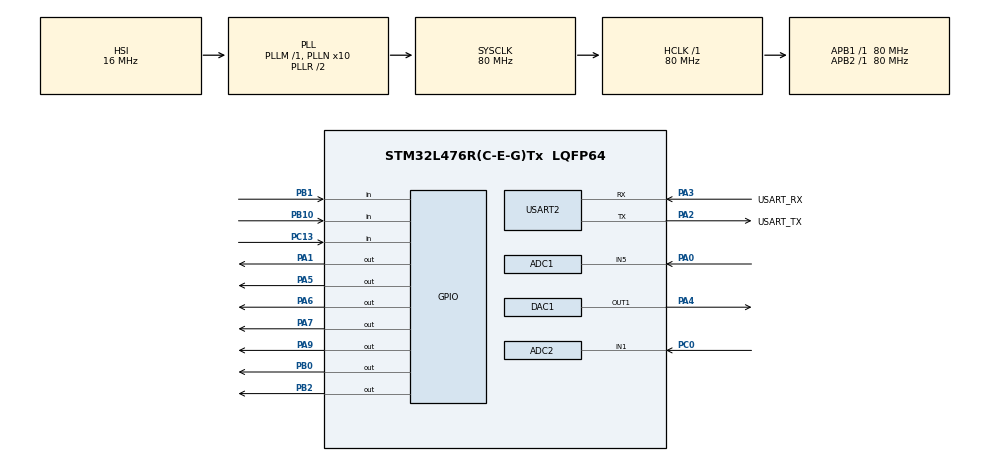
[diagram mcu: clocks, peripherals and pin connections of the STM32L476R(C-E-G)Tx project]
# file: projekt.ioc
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ADC1.Channel-1\#ChannelRegularConversion=ADC_CHANNEL_5
ADC1.NbrOfConversionFlag=1
ADC1.OffsetNumber-1\#ChannelRegularConversion=ADC_OFFSET_NONE
ADC1.Rank-1\#ChannelRegularConversion=1
ADC1.SamplingTime-1\#ChannelRegularConversion=ADC_SAMPLETIME_2CYCLES_5
ADC1.master=1
ADC2.Channel-0\#ChannelRegularConversion=ADC_CHANNEL_1
ADC2.DMAContinuousRequests=ENABLE
ADC2.ExternalTrigConv=ADC_EXTERNALTRIG_T4_TRGO
ADC2.NbrOfConversionFlag=1
ADC2.OffsetNumber-0\#ChannelRegularConversion=ADC_OFFSET_NONE
ADC2.Rank-0\#ChannelRegularConversion=1
ADC2.SamplingTime-0\#ChannelRegularConversion=ADC_SAMPLETIME_2CYCLES_5
DAC1.DAC_Trigger-DAC_OUT1_ExtAndInt=DAC_TRIGGER_T4_TRGO
Dma.ADC2.1.Direction=DMA_PERIPH_TO_MEMORY
Dma.ADC2.1.Instance=DMA1_Channel2
Dma.ADC2.1.MemDataAlignment=DMA_MDATAALIGN_HALFWORD
Dma.ADC2.1.MemInc=DMA_MINC_ENABLE
Dma.ADC2.1.Mode=DMA_CIRCULAR
Dma.ADC2.1.PeriphDataAlignment=DMA_PDATAALIGN_HALFWORD
Dma.ADC2.1.PeriphInc=DMA_PINC_DISABLE
Dma.ADC2.1.Priority=DMA_PRIORITY_LOW
Dma.DAC_CH1.0.Direction=DMA_MEMORY_TO_PERIPH
Dma.DAC_CH1.0.Instance=DMA1_Channel3
Dma.DAC_CH1.0.MemDataAlignment=DMA_MDATAALIGN_HALFWORD
Dma.DAC_CH1.0.MemInc=DMA_MINC_ENABLE
Dma.DAC_CH1.0.Mode=DMA_CIRCULAR
Dma.DAC_CH1.0.PeriphDataAlignment=DMA_PDATAALIGN_HALFWORD
Dma.DAC_CH1.0.PeriphInc=DMA_PINC_DISABLE
Dma.DAC_CH1.0.Priority=DMA_PRIORITY_LOW
Dma.Request0=DAC_CH1
Dma.Request1=ADC2
Mcu.Family=STM32L4
Mcu.Name=STM32L476R(C-E-G)Tx
Mcu.Package=LQFP64
NVIC.DMA1_Channel2_IRQn=true\:0\:0\:false\:false\:true\:false\:true\:true
NVIC.DMA1_Channel3_IRQn=true\:0\:0\:false\:false\:true\:false\:true\:true
NVIC.PriorityGroup=NVIC_PRIORITYGROUP_4
NVIC.TIM3_IRQn=true\:0\:0\:false\:false\:true\:true\:true\:true
NVIC.TIM4_IRQn=true\:0\:0\:false\:false\:true\:true\:true\:true
PA0.Signal=ADCx_IN5
PA1.Signal=GPIO_Output
PA13\ (JTMS-SWDIO).GPIO_Label=TMS
PA13\ (JTMS-SWDIO).Mode=Serial_Wire
PA13\ (JTMS-SWDIO).Signal=SYS_JTMS-SWDIO
PA14\ (JTCK-SWCLK).GPIO_Label=TCK
PA14\ (JTCK-SWCLK).Mode=Serial_Wire
PA14\ (JTCK-SWCLK).Signal=SYS_JTCK-SWCLK
PA2.GPIO_Label=USART_TX
PA2.GPIO_Mode=GPIO_MODE_AF_PP
PA2.GPIO_PuPd=GPIO_NOPULL
PA2.GPIO_Speed=GPIO_SPEED_FREQ_VERY_HIGH
PA2.Mode=Asynchronous
PA2.Signal=USART2_TX
PA3.GPIO_Label=USART_RX
PA3.GPIO_Mode=GPIO_MODE_AF_PP
PA3.GPIO_PuPd=GPIO_NOPULL
PA3.GPIO_Speed=GPIO_SPEED_FREQ_VERY_HIGH
PA3.Mode=Asynchronous
PA3.Signal=USART2_RX
PA4.Signal=COMP_DAC11_group
PA5.Signal=GPIO_Output
PA6.Signal=GPIO_Output
PA7.Signal=GPIO_Output
PA8.Signal=S_TIM1_CH1
PA9.Signal=GPIO_Output
PB0.GPIO_PuPd=GPIO_NOPULL
PB0.Signal=GPIO_Output
PB1.Signal=GPIO_Input
PB10.Signal=GPIO_Input
PB2.Signal=GPIO_Output
PB3\ (JTDO-TRACESWO).GPIO_Label=SWO
PB3\ (JTDO-TRACESWO).Signal=SYS_JTDO-SWO
PC0.Signal=ADCx_IN1
PC13.GPIO_PuPd=GPIO_NOPULL
PC13.Signal=GPIO_Input
PC14-OSC32_IN\ (PC14).Mode=LSE-External-Oscillator
PC14-OSC32_IN\ (PC14).Signal=RCC_OSC32_IN
PC15-OSC32_OUT\ (PC15).Mode=LSE-External-Oscillator
PC15-OSC32_OUT\ (PC15).Signal=RCC_OSC32_OUT
PH0-OSC_IN\ (PH0).Signal=RCC_OSC_IN
PH1-OSC_OUT\ (PH1).Signal=RCC_OSC_OUT
ProjectManager.HeapSize=0x200
ProjectManager.StackSize=0x400
ProjectManager.TargetToolchain=STM32CubeIDE
RCC.ADCFreq_Value=64000000
RCC.AHBFreq_Value=80000000
RCC.APB1Freq_Value=80000000
RCC.APB1TimFreq_Value=80000000
RCC.APB2Freq_Value=80000000
RCC.APB2TimFreq_Value=80000000
RCC.CortexFreq_Value=80000000
RCC.HCLKFreq_Value=80000000
RCC.HSE_VALUE=8000000
RCC.HSI_VALUE=16000000
RCC.MSI_VALUE=4000000
RCC.PLLN=10
RCC.PLLSourceVirtual=RCC_PLLSOURCE_HSI
RCC.PREFETCH_ENABLE=1
RCC.SYSCLKFreq_VALUE=80000000
RCC.SYSCLKSource=RCC_SYSCLKSOURCE_PLLCLK
RCC.USBFreq_Value=64000000
RCC.VCOOutputFreq_Value=160000000
SH.ADCx_IN1.0=ADC2_IN1,IN1-Single-Ended
SH.ADCx_IN5.0=ADC1_IN5,IN5-Single-Ended
SH.COMP_DAC11_group.0=DAC1_OUT1,DAC_OUT1_ExtAndInt
SH.S_TIM1_CH1.0=TIM1_CH1
TIM3.AutoReloadPreload=TIM_AUTORELOAD_PRELOAD_DISABLE
TIM3.Period=2499
TIM3.Prescaler=7999
TIM3.TIM_MasterOutputTrigger=TIM_TRGO_UPDATE
TIM4.Period=99
TIM4.Prescaler=499
TIM4.TIM_MasterOutputTrigger=TIM_TRGO_UPDATE
TIM5.Prescaler=79
USART2.VirtualMode-Asynchronous=VM_ASYNC
VP_TIM3_VS_ClockSourceINT.Mode=Internal
VP_TIM4_VS_ClockSourceINT.Mode=Internal
VP_TIM5_VS_ClockSourceINT.Mode=Internal
board=NUCLEO-L476RG

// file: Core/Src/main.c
/* USER CODE BEGIN Header */
/**
  ******************************************************************************
  * @file           : main.c
  * @brief          : Main program body
  ******************************************************************************
  * @attention
  *
  * Copyright (c) 2025 STMicroelectronics.
  * All rights reserved.
  *
  * This software is licensed under terms that can be found in the LICENSE file
  * in the root directory of this software component.
  * If no LICENSE file comes with this software, it is provided AS-IS.
  *
  ******************************************************************************
  */
/* USER CODE END Header */
#include "main.h"

/* USER CODE BEGIN Includes */
#include "core_cm4.h"
#include <math.h>
/* USER CODE END Includes */

ADC_HandleTypeDef hadc1;
ADC_HandleTypeDef hadc2;
DMA_HandleTypeDef hdma_adc2;

DAC_HandleTypeDef hdac1;
DMA_HandleTypeDef hdma_dac_ch1;

TIM_HandleTypeDef htim3;
TIM_HandleTypeDef htim4;
TIM_HandleTypeDef htim5;

UART_HandleTypeDef huart2;

/* USER CODE BEGIN PV */

float distance1_cm = 0;
float distance2_cm = 0;

float temp_distance = 0;
uint8_t max_distance = 30;
uint32_t t1=0;
uint32_t t2=0;
uint16_t freq_uint = 0;

// czujniki odległości
#define TRIG1_PORT GPIOB
#define TRIG1_PIN  GPIO_PIN_0
#define ECHO1_PORT GPIOB
#define ECHO1_PIN  GPIO_PIN_1

#define TRIG2_PORT GPIOB
#define TRIG2_PIN  GPIO_PIN_2
#define ECHO2_PORT GPIOB
#define ECHO2_PIN  GPIO_PIN_10

//sinus
#define SINE_SAMPLES 100
#define ADC_BUF_SIZE 100
uint16_t sine_table[SINE_SAMPLES];
uint16_t adc_buffer[ADC_BUF_SIZE];
static uint32_t last_update = 0;
float freq = 0;
uint16_t amp = 0;
volatile uint8_t adc_frame_ready = 0;

//sygnał prostokątny
uint8_t square_state = 0; //bool
float square_min = 0.4f;
float square_max = 1.0f;
float square_gain = 0.0f;
float freq_sqr= 0.0f;

//przełącznik
uint8_t button = 0;

//potencjometr
uint16_t adc_value = 0;
uint8_t led_level = 0;

//PID
#define PID_BUF_SIZE 1000
//#define PID_MAX_STEP 0.5f

float pid1_output = 0;
float pid1_error = 0;
float pid1_error_p = 0;
float pid2_output = 0;
float pid2_error = 0;
float pid2_error_p = 0;

float Ts = 0.001f;
float Kp = 17.2f;
float Ki = 84.4f;
float integral1 = 0;

typedef struct {
	float integral;

	float Kp;
	float Ki;

	float out_max;
	float out_min;

	float error;
	float percent_error;
	float out;
	float delta;
	float last_out;
	float max_step;

} PID_t;

PID_t pid1 = {0, 30, 84.4, 0, 0, 0, 0, 0 ,0, 0, 0.05};
PID_t pid2 = {0, 30, 84.4, 0, 0, 0, 0, 0 ,0, 0, 0.05};

/* USER CODE END PV */

void SystemClock_Config(void);
void PeriphCommonClock_Config(void);
static void MX_GPIO_Init(void);
static void MX_DMA_Init(void);
static void MX_USART2_UART_Init(void);
static void MX_ADC1_Init(void);
static void MX_DAC1_Init(void);
static void MX_TIM4_Init(void);
static void MX_ADC2_Init(void);
static void MX_TIM5_Init(void);
static void MX_TIM3_Init(void);

/* USER CODE BEGIN 0 */

// Inicjalizacja DWT do mikroseknund
static void DWT_Init(void)
{
    CoreDebug->DEMCR |= CoreDebug_DEMCR_TRCENA_Msk;
    DWT->CYCCNT = 0;
    DWT->CTRL |= DWT_CTRL_CYCCNTENA_Msk;
}

// Funkcja opóźnienia w µs
static inline uint32_t micros(void)
{
    return DWT->CYCCNT / (SystemCoreClock / 1000000);
}

// Wyślij impuls 10 us (dla debug bezpiecznie 1 ms)
void HCSR04_Trigger(GPIO_TypeDef* port, uint16_t pin)
{
    HAL_GPIO_WritePin(port, pin, GPIO_PIN_SET);
    HAL_Delay(1);
    HAL_GPIO_WritePin(port, pin, GPIO_PIN_RESET);
}

uint32_t HCSR04_Read_US(GPIO_TypeDef* port, uint16_t pin)
{
    uint32_t start = 0, stop = 0;

    while(HAL_GPIO_ReadPin(port, pin) == GPIO_PIN_RESET); // czekaj na wzniesienie
    start = micros();
    while(HAL_GPIO_ReadPin(port, pin) == GPIO_PIN_SET);   // czekaj na opadnięcie
    stop = micros();

    return stop - start; // czas w mikrosekundach
}

float TimeToDistance(uint32_t time_us)
{
    return time_us * 0.0343f / 2.0f; // w cm
}

// Inicjalizacja GPIO dla obu czujników
void GPIO_Init_HCSR04(void)
{
    __HAL_RCC_GPIOB_CLK_ENABLE();
    GPIO_InitTypeDef GPIO_InitStruct = {0};

    // TRIG1 jako output
    GPIO_InitStruct.Pin = TRIG1_PIN;
    GPIO_InitStruct.Mode = GPIO_MODE_OUTPUT_PP;
    GPIO_InitStruct.Pull = GPIO_NOPULL;
    GPIO_InitStruct.Speed = GPIO_SPEED_FREQ_LOW;
    HAL_GPIO_Init(TRIG1_PORT, &GPIO_InitStruct);

    // ECHO1 jako input
    GPIO_InitStruct.Pin = ECHO1_PIN;
    GPIO_InitStruct.Mode = GPIO_MODE_INPUT;
    GPIO_InitStruct.Pull = GPIO_NOPULL;
    HAL_GPIO_Init(ECHO1_PORT, &GPIO_InitStruct);

    // TRIG2 jako output
    GPIO_InitStruct.Pin = TRIG2_PIN;
    GPIO_InitStruct.Mode = GPIO_MODE_OUTPUT_PP;
    HAL_GPIO_Init(TRIG2_PORT, &GPIO_InitStruct);

    // ECHO2 jako input
    GPIO_InitStruct.Pin = ECHO2_PIN;
    GPIO_InitStruct.Mode = GPIO_MODE_INPUT;
    HAL_GPIO_Init(ECHO2_PORT, &GPIO_InitStruct);
}

//potencjometr
uint16_t Read_ADC(ADC_HandleTypeDef *adc)
{
    HAL_ADC_Start(adc);
    HAL_ADC_PollForConversion(adc, HAL_MAX_DELAY);
    uint16_t val = HAL_ADC_GetValue(adc);
    HAL_ADC_Stop(adc);
    return val;
}

//UART
void UART_SendBuffer_BeginEnd(uint16_t *buf, uint16_t size, float f)
{
    uint8_t header[2] = {0xAA, 0x55};
    freq_uint = (uint16_t) (f*1000);
    HAL_UART_Transmit(&huart2, header, 2, HAL_MAX_DELAY);
    HAL_UART_Transmit(&huart2, (uint8_t*)&freq_uint, 2, HAL_MAX_DELAY);
    HAL_UART_Transmit(&huart2, (uint8_t*)&size, 2, HAL_MAX_DELAY);

    for (uint16_t i = 0; i < size; i++)
    {
        uint8_t data[2] = {buf[i] & 0xFF, buf[i] >> 8};
        HAL_UART_Transmit(&huart2, data, 2, HAL_MAX_DELAY);
    }

//    uint32_t t_end = __HAL_TIM_GET_COUNTER(&htim5);    // koniec bufora
//    HAL_UART_Transmit(&huart2, (uint8_t*)&t_end, 4, HAL_MAX_DELAY);
}

void HAL_ADC_ConvCpltCallback(ADC_HandleTypeDef* hadc)
{
    if (hadc->Instance == ADC2)
    {
        adc_frame_ready = 1;
    }
}

//sinus
void GenerateSineTable(void)
{
    for (int i = 0; i < SINE_SAMPLES; i++)
    {
        float angle = 2.0f * M_PI * i / SINE_SAMPLES;
        float s = sinf(angle);

        sine_table[i] = (uint16_t)(2048 + 2047 * s);
    }
}

void SetSineFrequency(float freq_hz)
{
    if (freq_hz < 0.1f) freq_hz = 0.1f;
    if (freq_hz > 100.0f) freq_hz = 100.0f;

    float f_trgo = freq_hz * SINE_SAMPLES;

    uint32_t timer_clk = 80000000UL;
    uint32_t psc = htim4.Init.Prescaler;

    uint32_t arr = (uint32_t)((timer_clk / ((psc + 1) * f_trgo)) - 1);

    __HAL_TIM_SET_AUTORELOAD(&htim4, arr);
    __HAL_TIM_SET_COUNTER(&htim4, 0);
}

float DistanceToFrequency(float d_cm)
{
	return 1.0f + (d_cm - 5.0f) * (19.0f / 95.0f) *2.0f;
}

//sygnał prostokątny
static inline float GetSquareGain(void)
{
    return square_state ? square_max : square_min;
}

void SetSqrFrequency(float freq_hz)
{
    if (freq_hz < 0.1f) freq_hz = 0.1f;
    if (freq_hz > 100.0f) freq_hz = 100.0f;

    float f_trgo = freq_hz * SINE_SAMPLES;

    uint32_t timer_clk = 80000000UL;
    uint32_t psc = htim3.Init.Prescaler*5;

    uint32_t arr = (uint32_t)((timer_clk / ((psc + 1) * f_trgo)) - 1)*10;

    __HAL_TIM_SET_AUTORELOAD(&htim3, arr);
    __HAL_TIM_SET_COUNTER(&htim3, 0);
}

//synteza, aktualizacja amplitudy
void UpdateSineAmplitude(uint16_t amplitude)
{
	 square_gain = GetSquareGain();

	    for (int i = 0; i < SINE_SAMPLES; i++)
	    {
	        float angle = 2.0f * M_PI * i / SINE_SAMPLES;
	        float s = sinf(angle);

	        if(button==0)
	        {
	        	sine_table[i] = 2048 + (int16_t)(amplitude * square_gain * s);
	        }else
	        {
	        	sine_table[i] = 2048 + (int16_t)(amplitude * s);
	        }
	    }
}

uint16_t ADC_ToAmplitude(uint16_t adc)
{
    if (adc > 4095) adc = 4095;
    return (adc * 2047) / 4095;
}

//pid
void PID_Update(PID_t *p, float distance)
{
	// calculate error and error margin
	p->error = distance - p->out;
	p->percent_error = (p->error / distance * 100);

	// calculate integral and output
	p->integral += p->error;

	if (p->integral > p->out_max) p->integral = p->out_max;
	if (p->integral < p->out_min) p->integral = p->out_min;

	p->out = p->Kp * p->error + p->Ki * p->integral;

	// check for change restrictions
	p->delta = p->out - p->last_out;

	if (p->delta > p->max_step) p->delta = p->max_step;
	if (p->delta < -p->max_step) p->delta = -p->max_step;

	p->out = p->last_out + p->delta;
	p->last_out = p->out;
}

/* USER CODE END 0 */

int main(void)
{

  /* MCU Configuration--------------------------------------------------------*/

  /* Reset of all peripherals, Initializes the Flash interface and the Systick. */
  HAL_Init();

  /* Configure the system clock */
  SystemClock_Config();

  /* Configure the peripherals common clocks */
  PeriphCommonClock_Config();

  /* Initialize all configured peripherals */
  MX_GPIO_Init();
  MX_DMA_Init();
  MX_USART2_UART_Init();
  MX_ADC1_Init();
  MX_DAC1_Init();
  MX_TIM4_Init();
  MX_ADC2_Init();
  MX_TIM5_Init();
  MX_TIM3_Init();
  /* USER CODE BEGIN 2 */

   HAL_TIM_Base_Start(&htim5);
   HAL_TIM_Base_Start_IT(&htim3);
   HAL_TIM_Base_Start_IT(&htim4);
   GPIO_Init_HCSR04();
   DWT_Init();
   GenerateSineTable();

   // START DAC + DMA
   HAL_DAC_Start_DMA(
       &hdac1,
       DAC_CHANNEL_1,
       (uint32_t*)sine_table,
       SINE_SAMPLES,
       DAC_ALIGN_12B_R
   );

   // START ADC + DMA
   HAL_ADC_Start_DMA(
       &hadc2,
       (uint32_t*)adc_buffer,
       ADC_BUF_SIZE
   );

  /* USER CODE END 2 */

  /* Infinite loop */
  while (1)
  {

    /* USER CODE BEGIN 3 */
	 // Czujnik 1
	 HCSR04_Trigger(TRIG1_PORT, TRIG1_PIN);
	 t1 = HCSR04_Read_US(ECHO1_PORT, ECHO1_PIN);
	 temp_distance = TimeToDistance(t1);
	 if(temp_distance>max_distance){ distance1_cm=max_distance;}
	 else{distance1_cm=temp_distance;}

	 // Czujnik 2
	 HCSR04_Trigger(TRIG2_PORT, TRIG2_PIN);
	 t2 = HCSR04_Read_US(ECHO2_PORT, ECHO2_PIN);
	 temp_distance = TimeToDistance(t2);
	 if(temp_distance>max_distance){ distance2_cm=max_distance;}
	 else{distance2_cm=temp_distance;}

	 //PRZE ?ĄCZNIK
	 if (HAL_GPIO_ReadPin(GPIOC, GPIO_PIN_13) == GPIO_PIN_RESET)
		  {
		  button = 1;
		  }
		 else
		 {
		  button = 0;
		 }

	 //POTENCJOMETR
	 adc_value = Read_ADC(&hadc1);   // 0–4095
	 led_level = adc_value / 800;
	 HAL_GPIO_WritePin(GPIOA, GPIO_PIN_1, (led_level >= 1));
	 HAL_GPIO_WritePin(GPIOA, GPIO_PIN_9, (led_level >= 2));
	 HAL_GPIO_WritePin(GPIOA, GPIO_PIN_5, (led_level >= 3));
	 HAL_GPIO_WritePin(GPIOA, GPIO_PIN_6, (led_level >= 4));
	 HAL_GPIO_WritePin(GPIOA, GPIO_PIN_7, (led_level >= 5));

	 //sin
	 if (HAL_GetTick() - last_update > 20)
	     {
	         last_update = HAL_GetTick();

	         freq = DistanceToFrequency(pid1.out);
	         freq_sqr = DistanceToFrequency(pid2.out);
	         amp = ADC_ToAmplitude(adc_value);

	         SetSineFrequency(freq);
	         SetSqrFrequency(freq_sqr);
	         UpdateSineAmplitude(amp);
	     }
	 if (adc_frame_ready)
	     {
		 	 adc_frame_ready = 0;
		 	 UART_SendBuffer_BeginEnd(adc_buffer, ADC_BUF_SIZE, freq);
	     }

	 HAL_Delay(10);
  }
  /* USER CODE END 3 */
}

void SystemClock_Config(void)
{
  RCC_OscInitTypeDef RCC_OscInitStruct = {0};
  RCC_ClkInitTypeDef RCC_ClkInitStruct = {0};

  /** Configure the main internal regulator output voltage
  */
  if (HAL_PWREx_ControlVoltageScaling(PWR_REGULATOR_VOLTAGE_SCALE1) != HAL_OK)
  {
    Error_Handler();
  }

  /** Initializes the RCC Oscillators according to the specified parameters
  * in the RCC_OscInitTypeDef structure.
  */
  RCC_OscInitStruct.OscillatorType = RCC_OSCILLATORTYPE_HSI;
  RCC_OscInitStruct.HSIState = RCC_HSI_ON;
  RCC_OscInitStruct.HSICalibrationValue = RCC_HSICALIBRATION_DEFAULT;
  RCC_OscInitStruct.PLL.PLLState = RCC_PLL_ON;
  RCC_OscInitStruct.PLL.PLLSource = RCC_PLLSOURCE_HSI;
  RCC_OscInitStruct.PLL.PLLM = 1;
  RCC_OscInitStruct.PLL.PLLN = 10;
  RCC_OscInitStruct.PLL.PLLP = RCC_PLLP_DIV7;
  RCC_OscInitStruct.PLL.PLLQ = RCC_PLLQ_DIV2;
  RCC_OscInitStruct.PLL.PLLR = RCC_PLLR_DIV2;
  if (HAL_RCC_OscConfig(&RCC_OscInitStruct) != HAL_OK)
  {
    Error_Handler();
  }

  /** Initializes the CPU, AHB and APB buses clocks
  */
  RCC_ClkInitStruct.ClockType = RCC_CLOCKTYPE_HCLK|RCC_CLOCKTYPE_SYSCLK
                              |RCC_CLOCKTYPE_PCLK1|RCC_CLOCKTYPE_PCLK2;
  RCC_ClkInitStruct.SYSCLKSource = RCC_SYSCLKSOURCE_PLLCLK;
  RCC_ClkInitStruct.AHBCLKDivider = RCC_SYSCLK_DIV1;
  RCC_ClkInitStruct.APB1CLKDivider = RCC_HCLK_DIV1;
  RCC_ClkInitStruct.APB2CLKDivider = RCC_HCLK_DIV1;

  if (HAL_RCC_ClockConfig(&RCC_ClkInitStruct, FLASH_LATENCY_4) != HAL_OK)
  {
    Error_Handler();
  }
}

void PeriphCommonClock_Config(void)
{
  RCC_PeriphCLKInitTypeDef PeriphClkInit = {0};

  /** Initializes the peripherals clock
  */
  PeriphClkInit.PeriphClockSelection = RCC_PERIPHCLK_ADC;
  PeriphClkInit.AdcClockSelection = RCC_ADCCLKSOURCE_PLLSAI1;
  PeriphClkInit.PLLSAI1.PLLSAI1Source = RCC_PLLSOURCE_HSI;
  PeriphClkInit.PLLSAI1.PLLSAI1M = 1;
  PeriphClkInit.PLLSAI1.PLLSAI1N = 8;
  PeriphClkInit.PLLSAI1.PLLSAI1P = RCC_PLLP_DIV7;
  PeriphClkInit.PLLSAI1.PLLSAI1Q = RCC_PLLQ_DIV2;
  PeriphClkInit.PLLSAI1.PLLSAI1R = RCC_PLLR_DIV2;
  PeriphClkInit.PLLSAI1.PLLSAI1ClockOut = RCC_PLLSAI1_ADC1CLK;
  if (HAL_RCCEx_PeriphCLKConfig(&PeriphClkInit) != HAL_OK)
  {
    Error_Handler();
  }
}

static void MX_ADC1_Init(void)
{

  ADC_MultiModeTypeDef multimode = {0};
  ADC_ChannelConfTypeDef sConfig = {0};

  /** Common config
  */
  hadc1.Instance = ADC1;
  hadc1.Init.ClockPrescaler = ADC_CLOCK_ASYNC_DIV1;
  hadc1.Init.Resolution = ADC_RESOLUTION_12B;
  hadc1.Init.DataAlign = ADC_DATAALIGN_RIGHT;
  hadc1.Init.ScanConvMode = ADC_SCAN_DISABLE;
  hadc1.Init.EOCSelection = ADC_EOC_SINGLE_CONV;
  hadc1.Init.LowPowerAutoWait = DISABLE;
  hadc1.Init.ContinuousConvMode = DISABLE;
  hadc1.Init.NbrOfConversion = 1;
  hadc1.Init.DiscontinuousConvMode = DISABLE;
  hadc1.Init.ExternalTrigConv = ADC_SOFTWARE_START;
  hadc1.Init.ExternalTrigConvEdge = ADC_EXTERNALTRIGCONVEDGE_NONE;
  hadc1.Init.DMAContinuousRequests = DISABLE;
  hadc1.Init.Overrun = ADC_OVR_DATA_PRESERVED;
  hadc1.Init.OversamplingMode = DISABLE;
  if (HAL_ADC_Init(&hadc1) != HAL_OK)
  {
    Error_Handler();
  }

  /** Configure the ADC multi-mode
  */
  multimode.Mode = ADC_MODE_INDEPENDENT;
  if (HAL_ADCEx_MultiModeConfigChannel(&hadc1, &multimode) != HAL_OK)
  {
    Error_Handler();
  }

  /** Configure Regular Channel
  */
  sConfig.Channel = ADC_CHANNEL_5;
  sConfig.Rank = ADC_REGULAR_RANK_1;
  sConfig.SamplingTime = ADC_SAMPLETIME_2CYCLES_5;
  sConfig.SingleDiff = ADC_SINGLE_ENDED;
  sConfig.OffsetNumber = ADC_OFFSET_NONE;
  sConfig.Offset = 0;
  if (HAL_ADC_ConfigChannel(&hadc1, &sConfig) != HAL_OK)
  {
    Error_Handler();
  }

}

static void MX_ADC2_Init(void)
{

  ADC_ChannelConfTypeDef sConfig = {0};

  /** Common config
  */
  hadc2.Instance = ADC2;
  hadc2.Init.ClockPrescaler = ADC_CLOCK_ASYNC_DIV1;
  hadc2.Init.Resolution = ADC_RESOLUTION_12B;
  hadc2.Init.DataAlign = ADC_DATAALIGN_RIGHT;
  hadc2.Init.ScanConvMode = ADC_SCAN_DISABLE;
  hadc2.Init.EOCSelection = ADC_EOC_SINGLE_CONV;
  hadc2.Init.LowPowerAutoWait = DISABLE;
  hadc2.Init.ContinuousConvMode = DISABLE;
  hadc2.Init.NbrOfConversion = 1;
  hadc2.Init.DiscontinuousConvMode = DISABLE;
  hadc2.Init.ExternalTrigConv = ADC_EXTERNALTRIG_T4_TRGO;
  hadc2.Init.ExternalTrigConvEdge = ADC_EXTERNALTRIGCONVEDGE_RISING;
  hadc2.Init.DMAContinuousRequests = ENABLE;
  hadc2.Init.Overrun = ADC_OVR_DATA_PRESERVED;
  hadc2.Init.OversamplingMode = DISABLE;
  if (HAL_ADC_Init(&hadc2) != HAL_OK)
  {
    Error_Handler();
  }

  /** Configure Regular Channel
  */
  sConfig.Channel = ADC_CHANNEL_1;
  sConfig.Rank = ADC_REGULAR_RANK_1;
  sConfig.SamplingTime = ADC_SAMPLETIME_2CYCLES_5;
  sConfig.SingleDiff = ADC_SINGLE_ENDED;
  sConfig.OffsetNumber = ADC_OFFSET_NONE;
  sConfig.Offset = 0;
  if (HAL_ADC_ConfigChannel(&hadc2, &sConfig) != HAL_OK)
  {
    Error_Handler();
  }

}

static void MX_DAC1_Init(void)
{

  DAC_ChannelConfTypeDef sConfig = {0};

  /** DAC Initialization
  */
  hdac1.Instance = DAC1;
  if (HAL_DAC_Init(&hdac1) != HAL_OK)
  {
    Error_Handler();
  }

  /** DAC channel OUT1 config
  */
  sConfig.DAC_SampleAndHold = DAC_SAMPLEANDHOLD_DISABLE;
  sConfig.DAC_Trigger = DAC_TRIGGER_T4_TRGO;
  sConfig.DAC_OutputBuffer = DAC_OUTPUTBUFFER_ENABLE;
  sConfig.DAC_ConnectOnChipPeripheral = DAC_CHIPCONNECT_ENABLE;
  sConfig.DAC_UserTrimming = DAC_TRIMMING_FACTORY;
  if (HAL_DAC_ConfigChannel(&hdac1, &sConfig, DAC_CHANNEL_1) != HAL_OK)
  {
    Error_Handler();
  }

}

static void MX_TIM3_Init(void)
{

  TIM_ClockConfigTypeDef sClockSourceConfig = {0};
  TIM_MasterConfigTypeDef sMasterConfig = {0};

  htim3.Instance = TIM3;
  htim3.Init.Prescaler = 7999;
  htim3.Init.CounterMode = TIM_COUNTERMODE_UP;
  htim3.Init.Period = 2499;
  htim3.Init.ClockDivision = TIM_CLOCKDIVISION_DIV1;
  htim3.Init.AutoReloadPreload = TIM_AUTORELOAD_PRELOAD_DISABLE;
  if (HAL_TIM_Base_Init(&htim3) != HAL_OK)
  {
    Error_Handler();
  }
  sClockSourceConfig.ClockSource = TIM_CLOCKSOURCE_INTERNAL;
  if (HAL_TIM_ConfigClockSource(&htim3, &sClockSourceConfig) != HAL_OK)
  {
    Error_Handler();
  }
  sMasterConfig.MasterOutputTrigger = TIM_TRGO_UPDATE;
  sMasterConfig.MasterSlaveMode = TIM_MASTERSLAVEMODE_DISABLE;
  if (HAL_TIMEx_MasterConfigSynchronization(&htim3, &sMasterConfig) != HAL_OK)
  {
    Error_Handler();
  }

}

static void MX_TIM4_Init(void)
{

  TIM_ClockConfigTypeDef sClockSourceConfig = {0};
  TIM_MasterConfigTypeDef sMasterConfig = {0};

  htim4.Instance = TIM4;
  htim4.Init.Prescaler = 499;
  htim4.Init.CounterMode = TIM_COUNTERMODE_UP;
  htim4.Init.Period = 99;
  htim4.Init.ClockDivision = TIM_CLOCKDIVISION_DIV1;
  htim4.Init.AutoReloadPreload = TIM_AUTORELOAD_PRELOAD_DISABLE;
  if (HAL_TIM_Base_Init(&htim4) != HAL_OK)
  {
    Error_Handler();
  }
  sClockSourceConfig.ClockSource = TIM_CLOCKSOURCE_INTERNAL;
  if (HAL_TIM_ConfigClockSource(&htim4, &sClockSourceConfig) != HAL_OK)
  {
    Error_Handler();
  }
  sMasterConfig.MasterOutputTrigger = TIM_TRGO_UPDATE;
  sMasterConfig.MasterSlaveMode = TIM_MASTERSLAVEMODE_DISABLE;
  if (HAL_TIMEx_MasterConfigSynchronization(&htim4, &sMasterConfig) != HAL_OK)
  {
    Error_Handler();
  }

}

static void MX_TIM5_Init(void)
{

  TIM_ClockConfigTypeDef sClockSourceConfig = {0};
  TIM_MasterConfigTypeDef sMasterConfig = {0};

  htim5.Instance = TIM5;
  htim5.Init.Prescaler = 79;
  htim5.Init.CounterMode = TIM_COUNTERMODE_UP;
  htim5.Init.Period = 4294967295;
  htim5.Init.ClockDivision = TIM_CLOCKDIVISION_DIV1;
  htim5.Init.AutoReloadPreload = TIM_AUTORELOAD_PRELOAD_DISABLE;
  if (HAL_TIM_Base_Init(&htim5) != HAL_OK)
  {
    Error_Handler();
  }
  sClockSourceConfig.ClockSource = TIM_CLOCKSOURCE_INTERNAL;
  if (HAL_TIM_ConfigClockSource(&htim5, &sClockSourceConfig) != HAL_OK)
  {
    Error_Handler();
  }
  sMasterConfig.MasterOutputTrigger = TIM_TRGO_RESET;
  sMasterConfig.MasterSlaveMode = TIM_MASTERSLAVEMODE_DISABLE;
  if (HAL_TIMEx_MasterConfigSynchronization(&htim5, &sMasterConfig) != HAL_OK)
  {
    Error_Handler();
  }

}

static void MX_USART2_UART_Init(void)
{

  huart2.Instance = USART2;
  huart2.Init.BaudRate = 115200;
  huart2.Init.WordLength = UART_WORDLENGTH_8B;
  huart2.Init.StopBits = UART_STOPBITS_1;
  huart2.Init.Parity = UART_PARITY_NONE;
  huart2.Init.Mode = UART_MODE_TX_RX;
  huart2.Init.HwFlowCtl = UART_HWCONTROL_NONE;
  huart2.Init.OverSampling = UART_OVERSAMPLING_16;
  huart2.Init.OneBitSampling = UART_ONE_BIT_SAMPLE_DISABLE;
  huart2.AdvancedInit.AdvFeatureInit = UART_ADVFEATURE_NO_INIT;
  if (HAL_UART_Init(&huart2) != HAL_OK)
  {
    Error_Handler();
  }

}

static void MX_DMA_Init(void)
{

  /* DMA controller clock enable */
  __HAL_RCC_DMA1_CLK_ENABLE();

  /* DMA interrupt init */
  /* DMA1_Channel2_IRQn interrupt configuration */
  HAL_NVIC_SetPriority(DMA1_Channel2_IRQn, 0, 0);
  HAL_NVIC_EnableIRQ(DMA1_Channel2_IRQn);
  /* DMA1_Channel3_IRQn interrupt configuration */
  HAL_NVIC_SetPriority(DMA1_Channel3_IRQn, 0, 0);
  HAL_NVIC_EnableIRQ(DMA1_Channel3_IRQn);

}

static void MX_GPIO_Init(void)
{
  GPIO_InitTypeDef GPIO_InitStruct = {0};

  /* GPIO Ports Clock Enable */
  __HAL_RCC_GPIOC_CLK_ENABLE();
  __HAL_RCC_GPIOH_CLK_ENABLE();
  __HAL_RCC_GPIOA_CLK_ENABLE();
  __HAL_RCC_GPIOB_CLK_ENABLE();

  /*Configure GPIO pin Output Level */
  HAL_GPIO_WritePin(GPIOA, GPIO_PIN_1|GPIO_PIN_5|GPIO_PIN_6|GPIO_PIN_7
                          |GPIO_PIN_9, GPIO_PIN_RESET);

  /*Configure GPIO pin Output Level */
  HAL_GPIO_WritePin(GPIOB, GPIO_PIN_0|GPIO_PIN_2, GPIO_PIN_RESET);

  /*Configure GPIO pin : PC13 */
  GPIO_InitStruct.Pin = GPIO_PIN_13;
  GPIO_InitStruct.Mode = GPIO_MODE_INPUT;
  GPIO_InitStruct.Pull = GPIO_NOPULL;
  HAL_GPIO_Init(GPIOC, &GPIO_InitStruct);

  /*Configure GPIO pins : PA1 PA5 PA6 PA7
                           PA9 */
  GPIO_InitStruct.Pin = GPIO_PIN_1|GPIO_PIN_5|GPIO_PIN_6|GPIO_PIN_7
                          |GPIO_PIN_9;
  GPIO_InitStruct.Mode = GPIO_MODE_OUTPUT_PP;
  GPIO_InitStruct.Pull = GPIO_NOPULL;
  GPIO_InitStruct.Speed = GPIO_SPEED_FREQ_LOW;
  HAL_GPIO_Init(GPIOA, &GPIO_InitStruct);

  /*Configure GPIO pins : PB0 PB2 */
  GPIO_InitStruct.Pin = GPIO_PIN_0|GPIO_PIN_2;
  GPIO_InitStruct.Mode = GPIO_MODE_OUTPUT_PP;
  GPIO_InitStruct.Pull = GPIO_NOPULL;
  GPIO_InitStruct.Speed = GPIO_SPEED_FREQ_LOW;
  HAL_GPIO_Init(GPIOB, &GPIO_InitStruct);

  /*Configure GPIO pins : PB1 PB10 */
  GPIO_InitStruct.Pin = GPIO_PIN_1|GPIO_PIN_10;
  GPIO_InitStruct.Mode = GPIO_MODE_INPUT;
  GPIO_InitStruct.Pull = GPIO_NOPULL;
  HAL_GPIO_Init(GPIOB, &GPIO_InitStruct);

  /*Configure GPIO pin : PA8 */
  GPIO_InitStruct.Pin = GPIO_PIN_8;
  GPIO_InitStruct.Mode = GPIO_MODE_AF_PP;
  GPIO_InitStruct.Pull = GPIO_NOPULL;
  GPIO_InitStruct.Speed = GPIO_SPEED_FREQ_LOW;
  GPIO_InitStruct.Alternate = GPIO_AF1_TIM1;
  HAL_GPIO_Init(GPIOA, &GPIO_InitStruct);

}

/* USER CODE BEGIN 4 */
void HAL_TIM_PeriodElapsedCallback(TIM_HandleTypeDef *htim)
{
    if (htim->Instance == TIM4)
    {
    	/* Update pid output*/
    	PID_Update(&pid1, distance1_cm);
    	PID_Update(&pid2, distance2_cm);

        pid1_output = pid1.out;
        pid1_error = pid1.error;
        pid1_error_p = pid1.percent_error;

        pid2_output = pid2.out;
        pid2_error = pid2.error;
        pid2_error_p = pid2.percent_error;

    }

    if (htim->Instance == TIM3)
    {
        square_state ^= 1;   // toggle 0/1
    }
}

/* USER CODE END 4 */

void Error_Handler(void)
{
  __disable_irq();
  while (1)
  {
  }
}
